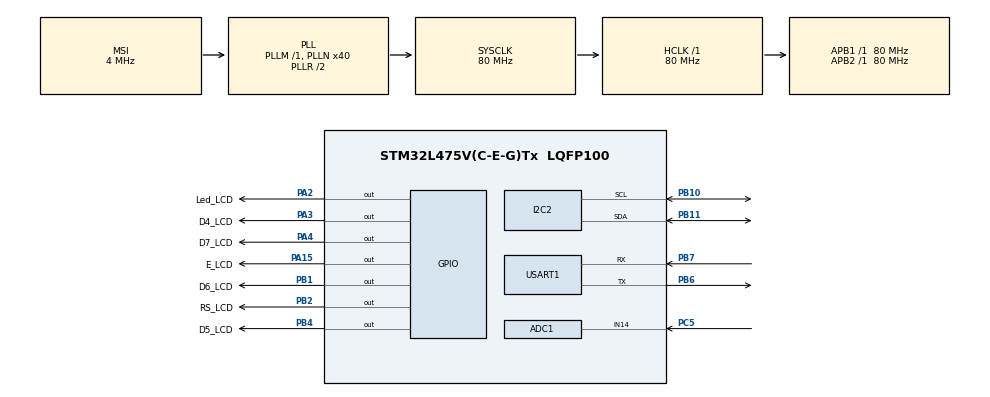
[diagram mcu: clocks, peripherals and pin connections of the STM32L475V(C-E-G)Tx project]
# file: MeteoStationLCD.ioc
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ADC1.Channel-0\#ChannelRegularConversion=ADC_CHANNEL_14
ADC1.NbrOfConversionFlag=1
ADC1.OffsetNumber-0\#ChannelRegularConversion=ADC_OFFSET_NONE
ADC1.Rank-0\#ChannelRegularConversion=1
ADC1.SamplingTime-0\#ChannelRegularConversion=ADC_SAMPLETIME_2CYCLES_5
ADC1.master=1
I2C2.Timing=0x10909CEC
Mcu.Family=STM32L4
Mcu.Name=STM32L475V(C-E-G)Tx
Mcu.Package=LQFP100
NVIC.PriorityGroup=NVIC_PRIORITYGROUP_4
PA15\ (JTDI).GPIO_Label=E_LCD
PA15\ (JTDI).Signal=GPIO_Output
PA2.GPIO_Label=Led_LCD
PA2.Signal=GPIO_Output
PA3.GPIO_Label=D4_LCD
PA3.Signal=GPIO_Output
PA4.GPIO_Label=D7_LCD
PA4.Signal=GPIO_Output
PB1.GPIO_Label=D6_LCD
PB1.Signal=GPIO_Output
PB10.Mode=I2C
PB10.Signal=I2C2_SCL
PB11.Mode=I2C
PB11.Signal=I2C2_SDA
PB2.GPIO_Label=RS_LCD
PB2.Signal=GPIO_Output
PB4\ (NJTRST).GPIO_Label=D5_LCD
PB4\ (NJTRST).Signal=GPIO_Output
PB6.Mode=Asynchronous
PB6.Signal=USART1_TX
PB7.Mode=Asynchronous
PB7.Signal=USART1_RX
PC5.Signal=ADCx_IN14
ProjectManager.HeapSize=0x200
ProjectManager.StackSize=0x400
ProjectManager.TargetToolchain=STM32CubeIDE
RCC.AHBFreq_Value=80000000
RCC.APB1Freq_Value=80000000
RCC.APB1TimFreq_Value=80000000
RCC.APB2Freq_Value=80000000
RCC.APB2TimFreq_Value=80000000
RCC.CortexFreq_Value=80000000
RCC.HCLKFreq_Value=80000000
RCC.HSE_VALUE=8000000
RCC.HSI_VALUE=16000000
RCC.LSE_VALUE=32768
RCC.MSI_VALUE=4000000
RCC.PLLN=40
RCC.SYSCLKFreq_VALUE=80000000
RCC.SYSCLKSource=RCC_SYSCLKSOURCE_PLLCLK
RCC.VCOOutputFreq_Value=160000000
SH.ADCx_IN14.0=ADC1_IN14,IN14-Single-Ended
USART1.VirtualMode-Asynchronous=VM_ASYNC
board=custom

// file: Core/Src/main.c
/* USER CODE BEGIN Header */
/**
  ******************************************************************************
  * @file           : main.c
  * @brief          : Main program body
  ******************************************************************************
  * @attention
  *
  * <h2><center>&copy; Copyright (c) 2024 STMicroelectronics.
  * All rights reserved.</center></h2>
  *
  * This software component is licensed by ST under BSD 3-Clause license,
  * the "License"; You may not use this file except in compliance with the
  * License. You may obtain a copy of the License at:
  *                        opensource.org/licenses/BSD-3-Clause
  *
  ******************************************************************************
  */
/* USER CODE END Header */

#include "main.h"

/* USER CODE BEGIN Includes */
#include "hd44780.h"
#include "LPS22.h"
#include "HTS221.h"
/* USER CODE END Includes */

ADC_HandleTypeDef hadc1;

I2C_HandleTypeDef hi2c2;

UART_HandleTypeDef huart1;

void SystemClock_Config(void);
static void MX_GPIO_Init(void);
static void MX_ADC1_Init(void);
static void MX_I2C2_Init(void);
static void MX_USART1_UART_Init(void);

/* USER CODE BEGIN 0 */
uint8_t getButton (uint16_t sample){
	int valor=0;
	if (sample==0){
		valor=1;
	}else if(sample<=1000){
		valor=2;
	}else if(sample<=2000){
		valor=3;
	}else if(sample<=3000){
		valor=4;
	}else if(sample<4095){
		valor=5;
	}
	return valor;
}
/* USER CODE END 0 */

int main(void)
{

  /* MCU Configuration--------------------------------------------------------*/

  /* Reset of all peripherals, Initializes the Flash interface and the Systick. */
  HAL_Init();

  /* Configure the system clock */
  SystemClock_Config();

  /* Initialize all configured peripherals */
  MX_GPIO_Init();
  MX_ADC1_Init();
  MX_I2C2_Init();
  MX_USART1_UART_Init();
  /* USER CODE BEGIN 2 */
  lcd_reset();
  lcd_display_settings(1, 0, 0);
  lcd_clear();

  LPS22_Init();
  HTS221_Init();
  //lcd_print("Funcional!");
  /* USER CODE END 2 */

  /* Infinite loop */
  /* USER CODE BEGIN WHILE */
  int sample;
  while (1)
  {
	  //1 - Lanzar muestra del ADC
	  //2 - Esperar a que este disponible
	  //3 - Leer muestra del registro
	  //4 - Presentar valores
	  	  //4.1 - Mostrar valor de la muestra
	  	  //4.2 - Convertir la muestra a milivoltios y mostrar
	  	  //4.3 - Espera o delay entre iteraciones

	  HAL_ADC_Start(&hadc1);
	  HAL_ADC_PollForConversion(&hadc1, 100); //TimeOut por ejemplo a 100.
	  sample = HAL_ADC_GetValue (&hadc1);
/*
	  moveToXY(0,1);
	  lcd_print("S:");
	  writeIntegerToLCD(sample);
	  HAL_Delay(100);

	  moveToXY(1,1);
	  lcd_print("V:");
	  int voltaje=(sample*3300)/4095;
	  writeIntegerToLCD(voltaje);
	  HAL_Delay(100);

	  moveToXY(0,8);
	  lcd_print("B: ");
	  writeIntegerToLCD(getButton(sample));
	  HAL_Delay(100);
*/
	  if(getButton(sample)==1){ //right -> reseteo de valores
		  	uint8_t str[20];
		  	float press;
		  	press=LPS22_ReadPress();
		  	sprintf(str, "Pres: %.1fhPA", press);
		  	moveToXY(0,0);
		  	lcd_print(str);
		  	THSample ths= HTS221_Read();
		  	sprintf(str, "T:%.1fC H:%.1f\%%", ths.temp, ths.hum);
		  	moveToXY(1, 0);
		  	lcd_print(str);
		  	HAL_Delay(500);
	  } else if(getButton(sample)==2){//up -> valores maximos
		  uint8_t str[20];
		  float press;
		  press=LPS22_ReadPress();
		  sprintf(str, "Pres: %.1fhPA", press);
		  moveToXY(0,0);
		  lcd_print(str);
		  THSample ths= HTS221_Read();
		  sprintf(str, "T:%.1fC H:%.1f\%%", ths.temp, ths.hum);
		  moveToXY(1, 0);
		  lcd_print(str);
		  HAL_Delay(500);
	  } else if(getButton(sample)==3){//down -> valores minimos
		  uint8_t str[20];
		  float press;
		  press=LPS22_ReadPress();
		  sprintf(str, "Pres: %.1fhPA", press);
		  moveToXY(0,0);
		  lcd_print(str);
		  THSample ths= HTS221_Read();
		  sprintf(str, "T:%.1fC H:%.1f\%%", ths.temp, ths.hum);
		  moveToXY(1, 0);
		  lcd_print(str);
		  HAL_Delay(500);
	  }else if(getButton(sample)==4){//left -> valores medios
		  uint8_t str[20];
		  float press;
		  press=LPS22_ReadPress();
		  sprintf(str, "Pres: %.1fhPA", press);
		  moveToXY(0,0);
		  lcd_print(str);
		  THSample ths= HTS221_Read();
		  sprintf(str, "T:%.1fC H:%.1f\%%", ths.temp, ths.hum);
		  moveToXY(1, 0);
		  lcd_print(str);
		  HAL_Delay(500);
	  }
	  //generar fuera del while las variables y en cada if-else tomar de esa lista los valores max/min
	  //en el reset, vaciar la lista, *valores desplazados*
	  /*
	uint8_t str[20];

	float press;

	press=LPS22_ReadPress();

	sprintf(str, "Pres: %.1fhPA", press);
	moveToXY(0,0);
	lcd_print(str);
	//HAL_Delay(500);

	THSample ths= HTS221_Read();

	sprintf(str, "T:%.1fC H:%.1f\%%", ths.temp, ths.hum);
	moveToXY(1, 0);
	lcd_print(str);
*/
	HAL_UART_Transmit(&huart1, "hola\n\r", 6, 1000);
	HAL_Delay(500);

    /* USER CODE END WHILE */

  }
}

void SystemClock_Config(void)
{
  RCC_OscInitTypeDef RCC_OscInitStruct = {0};
  RCC_ClkInitTypeDef RCC_ClkInitStruct = {0};
  RCC_PeriphCLKInitTypeDef PeriphClkInit = {0};

  /** Initializes the CPU, AHB and APB busses clocks
  */
  RCC_OscInitStruct.OscillatorType = RCC_OSCILLATORTYPE_MSI;
  RCC_OscInitStruct.MSIState = RCC_MSI_ON;
  RCC_OscInitStruct.MSICalibrationValue = 0;
  RCC_OscInitStruct.MSIClockRange = RCC_MSIRANGE_6;
  RCC_OscInitStruct.PLL.PLLState = RCC_PLL_ON;
  RCC_OscInitStruct.PLL.PLLSource = RCC_PLLSOURCE_MSI;
  RCC_OscInitStruct.PLL.PLLM = 1;
  RCC_OscInitStruct.PLL.PLLN = 40;
  RCC_OscInitStruct.PLL.PLLP = RCC_PLLP_DIV7;
  RCC_OscInitStruct.PLL.PLLQ = RCC_PLLQ_DIV2;
  RCC_OscInitStruct.PLL.PLLR = RCC_PLLR_DIV2;
  if (HAL_RCC_OscConfig(&RCC_OscInitStruct) != HAL_OK)
  {
    Error_Handler();
  }
  /** Initializes the CPU, AHB and APB busses clocks
  */
  RCC_ClkInitStruct.ClockType = RCC_CLOCKTYPE_HCLK|RCC_CLOCKTYPE_SYSCLK
                              |RCC_CLOCKTYPE_PCLK1|RCC_CLOCKTYPE_PCLK2;
  RCC_ClkInitStruct.SYSCLKSource = RCC_SYSCLKSOURCE_PLLCLK;
  RCC_ClkInitStruct.AHBCLKDivider = RCC_SYSCLK_DIV1;
  RCC_ClkInitStruct.APB1CLKDivider = RCC_HCLK_DIV1;
  RCC_ClkInitStruct.APB2CLKDivider = RCC_HCLK_DIV1;

  if (HAL_RCC_ClockConfig(&RCC_ClkInitStruct, FLASH_LATENCY_4) != HAL_OK)
  {
    Error_Handler();
  }
  PeriphClkInit.PeriphClockSelection = RCC_PERIPHCLK_USART1|RCC_PERIPHCLK_I2C2
                              |RCC_PERIPHCLK_ADC;
  PeriphClkInit.Usart1ClockSelection = RCC_USART1CLKSOURCE_PCLK2;
  PeriphClkInit.I2c2ClockSelection = RCC_I2C2CLKSOURCE_PCLK1;
  PeriphClkInit.AdcClockSelection = RCC_ADCCLKSOURCE_PLLSAI1;
  PeriphClkInit.PLLSAI1.PLLSAI1Source = RCC_PLLSOURCE_MSI;
  PeriphClkInit.PLLSAI1.PLLSAI1M = 1;
  PeriphClkInit.PLLSAI1.PLLSAI1N = 8;
  PeriphClkInit.PLLSAI1.PLLSAI1P = RCC_PLLP_DIV7;
  PeriphClkInit.PLLSAI1.PLLSAI1Q = RCC_PLLQ_DIV2;
  PeriphClkInit.PLLSAI1.PLLSAI1R = RCC_PLLR_DIV2;
  PeriphClkInit.PLLSAI1.PLLSAI1ClockOut = RCC_PLLSAI1_ADC1CLK;
  if (HAL_RCCEx_PeriphCLKConfig(&PeriphClkInit) != HAL_OK)
  {
    Error_Handler();
  }
  /** Configure the main internal regulator output voltage
  */
  if (HAL_PWREx_ControlVoltageScaling(PWR_REGULATOR_VOLTAGE_SCALE1) != HAL_OK)
  {
    Error_Handler();
  }
}

static void MX_ADC1_Init(void)
{

  ADC_MultiModeTypeDef multimode = {0};
  ADC_ChannelConfTypeDef sConfig = {0};

  /** Common config
  */
  hadc1.Instance = ADC1;
  hadc1.Init.ClockPrescaler = ADC_CLOCK_ASYNC_DIV1;
  hadc1.Init.Resolution = ADC_RESOLUTION_12B;
  hadc1.Init.DataAlign = ADC_DATAALIGN_RIGHT;
  hadc1.Init.ScanConvMode = ADC_SCAN_DISABLE;
  hadc1.Init.EOCSelection = ADC_EOC_SINGLE_CONV;
  hadc1.Init.LowPowerAutoWait = DISABLE;
  hadc1.Init.ContinuousConvMode = DISABLE;
  hadc1.Init.NbrOfConversion = 1;
  hadc1.Init.DiscontinuousConvMode = DISABLE;
  hadc1.Init.NbrOfDiscConversion = 1;
  hadc1.Init.ExternalTrigConv = ADC_SOFTWARE_START;
  hadc1.Init.ExternalTrigConvEdge = ADC_EXTERNALTRIGCONVEDGE_NONE;
  hadc1.Init.DMAContinuousRequests = DISABLE;
  hadc1.Init.Overrun = ADC_OVR_DATA_PRESERVED;
  hadc1.Init.OversamplingMode = DISABLE;
  if (HAL_ADC_Init(&hadc1) != HAL_OK)
  {
    Error_Handler();
  }
  /** Configure the ADC multi-mode
  */
  multimode.Mode = ADC_MODE_INDEPENDENT;
  if (HAL_ADCEx_MultiModeConfigChannel(&hadc1, &multimode) != HAL_OK)
  {
    Error_Handler();
  }
  /** Configure Regular Channel
  */
  sConfig.Channel = ADC_CHANNEL_14;
  sConfig.Rank = ADC_REGULAR_RANK_1;
  sConfig.SamplingTime = ADC_SAMPLETIME_2CYCLES_5;
  sConfig.SingleDiff = ADC_SINGLE_ENDED;
  sConfig.OffsetNumber = ADC_OFFSET_NONE;
  sConfig.Offset = 0;
  if (HAL_ADC_ConfigChannel(&hadc1, &sConfig) != HAL_OK)
  {
    Error_Handler();
  }

}

static void MX_I2C2_Init(void)
{

  hi2c2.Instance = I2C2;
  hi2c2.Init.Timing = 0x10909CEC;
  hi2c2.Init.OwnAddress1 = 0;
  hi2c2.Init.AddressingMode = I2C_ADDRESSINGMODE_7BIT;
  hi2c2.Init.DualAddressMode = I2C_DUALADDRESS_DISABLE;
  hi2c2.Init.OwnAddress2 = 0;
  hi2c2.Init.OwnAddress2Masks = I2C_OA2_NOMASK;
  hi2c2.Init.GeneralCallMode = I2C_GENERALCALL_DISABLE;
  hi2c2.Init.NoStretchMode = I2C_NOSTRETCH_DISABLE;
  if (HAL_I2C_Init(&hi2c2) != HAL_OK)
  {
    Error_Handler();
  }
  /** Configure Analogue filter
  */
  if (HAL_I2CEx_ConfigAnalogFilter(&hi2c2, I2C_ANALOGFILTER_ENABLE) != HAL_OK)
  {
    Error_Handler();
  }
  /** Configure Digital filter
  */
  if (HAL_I2CEx_ConfigDigitalFilter(&hi2c2, 0) != HAL_OK)
  {
    Error_Handler();
  }

}

static void MX_USART1_UART_Init(void)
{

  huart1.Instance = USART1;
  huart1.Init.BaudRate = 115200;
  huart1.Init.WordLength = UART_WORDLENGTH_8B;
  huart1.Init.StopBits = UART_STOPBITS_1;
  huart1.Init.Parity = UART_PARITY_NONE;
  huart1.Init.Mode = UART_MODE_TX_RX;
  huart1.Init.HwFlowCtl = UART_HWCONTROL_NONE;
  huart1.Init.OverSampling = UART_OVERSAMPLING_16;
  huart1.Init.OneBitSampling = UART_ONE_BIT_SAMPLE_DISABLE;
  huart1.AdvancedInit.AdvFeatureInit = UART_ADVFEATURE_NO_INIT;
  if (HAL_UART_Init(&huart1) != HAL_OK)
  {
    Error_Handler();
  }

}

static void MX_GPIO_Init(void)
{
  GPIO_InitTypeDef GPIO_InitStruct = {0};

  /* GPIO Ports Clock Enable */
  __HAL_RCC_GPIOA_CLK_ENABLE();
  __HAL_RCC_GPIOC_CLK_ENABLE();
  __HAL_RCC_GPIOB_CLK_ENABLE();

  /*Configure GPIO pin Output Level */
  HAL_GPIO_WritePin(GPIOA, Led_LCD_Pin|D4_LCD_Pin|D7_LCD_Pin|E_LCD_Pin, GPIO_PIN_RESET);

  /*Configure GPIO pin Output Level */
  HAL_GPIO_WritePin(GPIOB, D6_LCD_Pin|RS_LCD_Pin|D5_LCD_Pin, GPIO_PIN_RESET);

  /*Configure GPIO pins : Led_LCD_Pin D4_LCD_Pin D7_LCD_Pin E_LCD_Pin */
  GPIO_InitStruct.Pin = Led_LCD_Pin|D4_LCD_Pin|D7_LCD_Pin|E_LCD_Pin;
  GPIO_InitStruct.Mode = GPIO_MODE_OUTPUT_PP;
  GPIO_InitStruct.Pull = GPIO_NOPULL;
  GPIO_InitStruct.Speed = GPIO_SPEED_FREQ_LOW;
  HAL_GPIO_Init(GPIOA, &GPIO_InitStruct);

  /*Configure GPIO pins : D6_LCD_Pin RS_LCD_Pin D5_LCD_Pin */
  GPIO_InitStruct.Pin = D6_LCD_Pin|RS_LCD_Pin|D5_LCD_Pin;
  GPIO_InitStruct.Mode = GPIO_MODE_OUTPUT_PP;
  GPIO_InitStruct.Pull = GPIO_NOPULL;
  GPIO_InitStruct.Speed = GPIO_SPEED_FREQ_LOW;
  HAL_GPIO_Init(GPIOB, &GPIO_InitStruct);

}

void Error_Handler(void)
{
}

/************************ (C) COPYRIGHT STMicroelectronics *****END OF FILE****/
